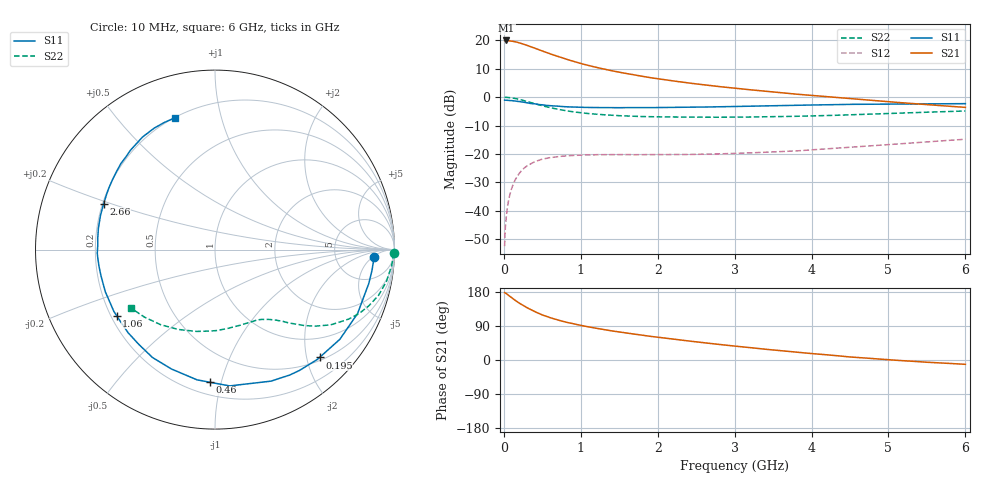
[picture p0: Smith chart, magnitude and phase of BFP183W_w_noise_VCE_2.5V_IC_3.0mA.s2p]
! Infineon Technologies  Discrete & RF Semiconductors
! BFP183W
! VCE = 2.5 V,  IC =  3.0 mA
! Common Emitter S-Parameters:  Jan 2016
# GHz  S  MA  R  50
!  f  S11  S21  S12  S22
! GHz  MAG  ANG  MAG  ANG  MAG  ANG  MAG  ANG
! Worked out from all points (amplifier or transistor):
!   210 points, 10 MHz to 6 GHz, reference 50 ohm
!   highest |S21| = 19.9 dB at 30 MHz (marker M1)
!   |S21| within 3 dB of that: start of sweep to 430 MHz
!   unconditionally stable (mu >= 1): 2.102 GHz to 5.959 GHz
!   at 185 MHz: K = 0.11, MSG = 23.3 dB, |S12| = -27.4 dB
!   at 1.52 GHz: K = 0.76, MSG = 14.4 dB, |S12| = -20.2 dB
!   at 6 GHz: K = 1.00, MSG = 5.6 dB, |S12| = -14.8 dB
!   lowest NFmin = 1.10 dB at 450 MHz
!   S11 on the Smith chart (normalised r, x): 10 MHz: 14, -5; 195 MHz: 0.56, -2.24; 460 MHz: 0.28, -0.92; 1.06 GHz: 0.22, -0.29; 2.66 GHz: 0.20, +0.19; 6 GHz: 0.20, +0.72
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0.01  0.8841 -2.5  9.826 177.8  0.0024 89.8  0.9952 -1.1
0.02  0.8845 -4.8  9.875 177.0  0.0052 82.8  0.9905 -2.2
0.03  0.8825 -7.4  9.901 175.5  0.0074 86.5  0.9921 -3.2
0.1  0.8706 -24.1  9.648 164.7  0.0245 76.6  0.9716 -10.5
0.15  0.8565 -35.7  9.395 157.1  0.0357 70.5  0.9463 -15.6
0.195  0.8369 -45.9  9.027 150.8  0.0446 64.9  0.9163 -19.5
0.3  0.7967 -66.9  8.128 137.8  0.0617 54.5  0.8389 -27.5
0.4  0.7638 -83.9  7.265 127.7  0.0731 46.5  0.7671 -33.2
0.46  0.7396 -92.2  6.767 122.7  0.0779 42.7  0.7297 -35.5
0.5  0.7324 -97.9  6.467 118.9  0.0813 40.4  0.7055 -37.2
0.6  0.7082 -110.0  5.772 111.8  0.0863 35.4  0.6532 -40.4
0.7  0.6947 -120.1  5.206 105.6  0.0901 31.9  0.6119 -42.7
0.82  0.6752 -130.3  4.595 99.3  0.0929 28.5  0.5731 -45.2
1.02  0.661 -143.9  3.834 90.6  0.0958 24.2  0.5277 -48.5
1.06  0.6602 -146.2  3.72 89.0  0.0963 23.6  0.5208 -49.0
1.42  0.6519 -164.0  2.877 76.3  0.0975 19.8  0.4794 -54.3
2.02  0.6563 174.6  2.086 59.5  0.0975 19.5  0.45 -63.3
2.66  0.6708 157.6  1.609 44.2  0.0992 22.7  0.443 -74.6
3.1  0.6874 147.6  1.389 34.7  0.1034 25.6  0.4458 -83.2
4.1  0.7293 129.0  1.046 15.4  0.1207 31.9  0.4703 -105.3
5.1  0.7575 115.7  0.81 -0.7  0.1494 34.2  0.5208 -128.1
6  0.7675 106.9  0.66 -11.4  0.1817 33.0  0.571 -145.3
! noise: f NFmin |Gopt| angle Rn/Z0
0.45  1.1  0.37  35  0.3
0.9  1.15  0.34  85  0.23
1.8  1.9  0.35  160  0.13
